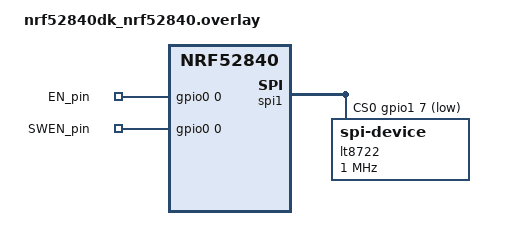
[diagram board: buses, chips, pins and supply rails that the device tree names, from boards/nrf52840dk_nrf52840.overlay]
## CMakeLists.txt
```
cmake_minimum_required(VERSION 3.20)

set(BOARD nrf52840dk_nrf52840)

# Try to find arm-gcc if toolchain isn't specified.
if (NOT DEFINED ENV{GNUARMEMB_TOOLCHAIN_PATH})
    find_program(ARM_GCC arm-none-eabi-gcc)
    if (${ARM_GCC} STREQUAL ARM_GCC-NOTFOUND)
        message(FATAL_ERROR "Unable to find arm-none-eabi-gcc.")
    else ()
        file(REAL_PATH ${ARM_GCC} REAL_GCC)
        cmake_path(GET REAL_GCC PARENT_PATH GCC_ROOT)
        file(REAL_PATH ${GCC_ROOT}/../ GNUARMEMB_TOOLCHAIN_PATH)
        set(ENV{ZEPHYR_TOOLCHAIN_VARIANT} gnuarmemb)
    endif ()
endif ()

file(REAL_PATH ${CMAKE_CURRENT_SOURCE_DIR}/../ WORKSPACE)
set(ENV{ZEPHYR_BASE} ${WORKSPACE}/zephyr)

find_package(Zephyr HINTS $ENV{ZEPHYR_BASE})

set(CMAKE_BUILD_TYPE ZDebug)

project(lt8722)

zephyr_library_compile_options(-std=gnu17)

target_sources(app PRIVATE
        src/main.c
        src/lt8722.c
        )

target_include_directories(app PRIVATE
        src
        )
```

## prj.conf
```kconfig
NRFX_SPIM3=y
```

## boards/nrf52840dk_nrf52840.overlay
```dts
/{
    lt8722_gpios {
        compatible = "gpio-leds";
        EN_pin {
            gpios = <&gpio0 0 GPIO_ACTIVE_HIGH>;
        };
        SWEN_pin {
            gpios = <&gpio0 0 GPIO_ACTIVE_HIGH>;
        };
    };
};

lt8722_spi: &spi1 {
    status="okay";
    cs-gpios = <&gpio1 7 GPIO_ACTIVE_LOW>;

    lt8722: lt8722@0 {
        compatible = "zephyr,spi-device";
        reg = <0>;
        spi-max-frequency = <1000000>;
    };
};
```

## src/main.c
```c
#include "lt8722.h"

#include <zephyr/sys/printk.h>

int main( void )
{
	uint32_t err;

	err = lt8722_init();
	if ( err )
	{
		printk( "Init failed\n" );
		return err;
	}

	return err;
}
```

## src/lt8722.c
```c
/*
Copyright 2018(c) Analog Devices, Inc.

All rights reserved.

Redistribution and use in source and binary forms, with or without
modification, are permitted provided that the following conditions are met:
 - Redistributions of source code must retain the above copyright
   notice, this list of conditions and the following disclaimer.
 - Redistributions in binary form must reproduce the above copyright
   notice, this list of conditions and the following disclaimer in
   the documentation and/or other materials provided with the
   distribution.
 - Neither the name of Analog Devices, Inc. nor the names of its
   contributors may be used to endorse or promote products derived
   from this software without specific prior written permission.
 - The use of this software may or may not infringe the patent rights
   of one or more patent holders.  This license does not release you
   from the requirement that you obtain separate licenses from these
   patent holders to use this software.
 - Use of the software either in source or binary form, must be run
   on or directly connected to an Analog Devices Inc. component.

THIS SOFTWARE IS PROVIDED BY ANALOG DEVICES "AS IS" AND ANY EXPRESS OR
IMPLIED WARRANTIES, INCLUDING, BUT NOT LIMITED TO, NON-INFRINGEMENT,
MERCHANTABILITY AND FITNESS FOR A PARTICULAR PURPOSE ARE DISCLAIMED.
IN NO EVENT SHALL ANALOG DEVICES BE LIABLE FOR ANY DIRECT, INDIRECT,
INCIDENTAL, SPECIAL, EXEMPLARY, OR CONSEQUENTIAL DAMAGES (INCLUDING, BUT NOT
LIMITED TO, INTELLECTUAL PROPERTY RIGHTS, PROCUREMENT OF SUBSTITUTE GOODS OR
SERVICES; LOSS OF USE, DATA, OR PROFITS; OR BUSINESS INTERRUPTION) HOWEVER
CAUSED AND ON ANY THEORY OF LIABILITY, WHETHER IN CONTRACT, STRICT LIABILITY,
OR TORT (INCLUDING NEGLIGENCE OR OTHERWISE) ARISING IN ANY WAY OUT OF THE USE
OF THIS SOFTWARE, EVEN IF ADVISED OF THE POSSIBILITY OF SUCH DAMAGE.

 * Created by Benjamin Riggs on 5/5/23.
 *
 * Copyright (c) 2023 Entropic Engineering. All rights reserved.
 */

#include "lt8722.h"

#include <stdlib.h>
#include <zephyr/device.h>
#include <zephyr/drivers/gpio.h>
#include <zephyr/drivers/spi.h>
#include <zephyr/kernel.h>
#include <zephyr/sys/printk.h>

#define LT8722_SPI_MODE			0
#define LT8722_DATA_XFER_SIZE	8
#define LT8722_STATUS_XFER_SIZE 4

static const uint8_t CRC_8_TABLE[256] = {
	0x00, 0x07, 0x0E, 0x09, 0x1C, 0x1B, 0x12, 0x15, 0x38, 0x3F, 0x36, 0x31, 0x24, 0x23, 0x2A, 0x2D, 0x70, 0x77, 0x7E,
	0x79, 0x6C, 0x6B, 0x62, 0x65, 0x48, 0x4F, 0x46, 0x41, 0x54, 0x53, 0x5A, 0x5D, 0xE0, 0xE7, 0xEE, 0xE9, 0xFC, 0xFB,
	0xF2, 0xF5, 0xD8, 0xDF, 0xD6, 0xD1, 0xC4, 0xC3, 0xCA, 0xCD, 0x90, 0x97, 0x9E, 0x99, 0x8C, 0x8B, 0x82, 0x85, 0xA8,
	0xAF, 0xA6, 0xA1, 0xB4, 0xB3, 0xBA, 0xBD, 0xC7, 0xC0, 0xC9, 0xCE, 0xDB, 0xDC, 0xD5, 0xD2, 0xFF, 0xF8, 0xF1, 0xF6,
	0xE3, 0xE4, 0xED, 0xEA, 0xB7, 0xB0, 0xB9, 0xBE, 0xAB, 0xAC, 0xA5, 0xA2, 0x8F, 0x88, 0x81, 0x86, 0x93, 0x94, 0x9D,
	0x9A, 0x27, 0x20, 0x29, 0x2E, 0x3B, 0x3C, 0x35, 0x32, 0x1F, 0x18, 0x11, 0x16, 0x03, 0x04, 0x0D, 0x0A, 0x57, 0x50,
	0x59, 0x5E, 0x4B, 0x4C, 0x45, 0x42, 0x6F, 0x68, 0x61, 0x66, 0x73, 0x74, 0x7D, 0x7A, 0x89, 0x8E, 0x87, 0x80, 0x95,
	0x92, 0x9B, 0x9C, 0xB1, 0xB6, 0xBF, 0xB8, 0xAD, 0xAA, 0xA3, 0xA4, 0xF9, 0xFE, 0xF7, 0xF0, 0xE5, 0xE2, 0xEB, 0xEC,
	0xC1, 0xC6, 0xCF, 0xC8, 0xDD, 0xDA, 0xD3, 0xD4, 0x69, 0x6E, 0x67, 0x60, 0x75, 0x72, 0x7B, 0x7C, 0x51, 0x56, 0x5F,
	0x58, 0x4D, 0x4A, 0x43, 0x44, 0x19, 0x1E, 0x17, 0x10, 0x05, 0x02, 0x0B, 0x0C, 0x21, 0x26, 0x2F, 0x28, 0x3D, 0x3A,
	0x33, 0x34, 0x4E, 0x49, 0x40, 0x47, 0x52, 0x55, 0x5C, 0x5B, 0x76, 0x71, 0x87, 0x7F, 0x6A, 0x6D, 0x64, 0x63, 0x3E,
	0x39, 0x30, 0x37, 0x22, 0x25, 0x2C, 0x2B, 0x06, 0x01, 0x08, 0x0F, 0x1A, 0x1D, 0x14, 0x13, 0xAE, 0xA9, 0xA0, 0xA7,
	0xB2, 0xB5, 0xBC, 0xBB, 0x96, 0x91, 0x98, 0x9F, 0x8A, 0x8D, 0x84, 0x83, 0xDE, 0xD9, 0xD0, 0xD7, 0xC2, 0xC5, 0xCC,
	0xCB, 0xE6, 0xE1, 0xE8, 0xEF, 0xFA, 0xFD, 0xF4, 0xF3 };

static struct spi_dt_spec spi_dt = {
	.bus	= DEVICE_DT_GET( DT_NODELABEL( lt8722_spi ) ),
	.config = SPI_CONFIG_DT( DT_NODELABEL( lt8722_spi ), SPI_OP_MODE_MASTER | SPI_WORD_SET( 8 ), 0 ) };
static const struct gpio_dt_spec EN_pin_dt	 = GPIO_DT_SPEC_GET( DT_NODELABEL( EN_pin ), gpios );
static const struct gpio_dt_spec SWEN_pin_dt = GPIO_DT_SPEC_GET( DT_NODELABEL( SWEN_pin ), gpios );

static uint8_t			  mosi_buffer[LT8722_DATA_XFER_SIZE] = { 0 };
static uint8_t			  miso_buffer[LT8722_DATA_XFER_SIZE] = { 0 };
static struct spi_buf	  tx_buf							 = { .buf = mosi_buffer, .len = 0 };
static struct spi_buf	  rx_buf							 = { .buf = miso_buffer, .len = 0 };
static struct spi_buf_set tx_set							 = { .buffers = &tx_buf, .count = 1 };
static struct spi_buf_set rx_set							 = { .buffers = &rx_buf, .count = 1 };

static uint8_t calc_crc( uint8_t* buffer, size_t len )
{
	uint8_t result = 0;
	for ( uint8_t i = 0; i < len; i++ )
	{
		result = CRC_8_TABLE[( result ^ buffer[i] )];
	}
	return result;
}

static int transceive( uint8_t ack, uint8_t crc )
{
	int r;

	r = spi_transceive_dt( &spi_dt, &tx_set, &rx_set );
	if ( r )
	{
		printk( "Transceive error: %d\n", -r );
		return -r;
	}

	r = miso_buffer[ack];
	if ( LT8722_ACK != r )
	{
		printk( "LT8722 ACK error: %02x\n", r );
		return r ? r : 0xFF; /* Stuck at zero is error */
	}

	r = calc_crc( miso_buffer, crc );
	if ( r != miso_buffer[crc] )
	{
		printk( "CRC error: calculated %02x, received %02x\n", r, miso_buffer[crc] );
		return 0xFF;
	}
	return 0;
}

int lt8722_init( void )
{
	int err;
	if ( ! gpio_is_ready_dt( &EN_pin_dt ) )
	{
		printk( "GPIO driver not ready\n" );
		return -1;
	}
	err = gpio_pin_configure_dt( &EN_pin_dt, GPIO_OUTPUT_INACTIVE );
	if ( err )
	{
		printk( "Failed to init EN pin, err: %d\n", err );
		return err;
	}

	if ( ! gpio_is_ready_dt( &SWEN_pin_dt ) )
	{
		printk( "GPIO driver not ready\n" );
		return -1;
	}
	err = gpio_pin_configure_dt( &SWEN_pin_dt, GPIO_OUTPUT_INACTIVE );
	if ( err )
	{
		printk( "Failed to init SWEN pin, err: %d\n", err );
		return err;
	}

	if ( ! spi_is_ready_dt( &spi_dt ) )
	{
		printk( "SPI driver not ready\n" );
		return -1;
	}
	return 0;
}

int lt8722_spi_transact(
	enum lt8722_command		  kind,
	lt8722_status_register_t* status,
	uint32_t*				  data,
	enum lt8722_spi_address	  address )
{
	int err = 0;

	switch ( kind )
	{
	case LT8722_STATUS_ACQUISITION:
		tx_buf.len = rx_buf.len = LT8722_STATUS_XFER_SIZE;
		memset( miso_buffer, 0, LT8722_STATUS_XFER_SIZE );
		mosi_buffer[0] = LT8722_SQ;
		mosi_buffer[1] = address;
		mosi_buffer[2] = calc_crc( mosi_buffer, 2 );

		err = transceive( 3, 2 );
		break;
	case LT8722_DATA_WRITE:
		tx_buf.len = rx_buf.len = LT8722_DATA_XFER_SIZE;
		memset( miso_buffer, 0, LT8722_DATA_XFER_SIZE );
		mosi_buffer[0] = LT8722_DW;
		mosi_buffer[1] = address;
		// LT8277 spi is big-endian
		mosi_buffer[2] = ( (uint8_t*) data )[3];
		mosi_buffer[3] = ( (uint8_t*) data )[2];
		mosi_buffer[4] = ( (uint8_t*) data )[1];
		mosi_buffer[5] = ( (uint8_t*) data )[0];
		mosi_buffer[6] = calc_crc( mosi_buffer, 6 );

		err = transceive( 7, 2 );
		break;
	case LT8722_DATA_READ:
		tx_buf.len = rx_buf.len = LT8722_DATA_XFER_SIZE;
		memset( miso_buffer, 0, LT8722_DATA_XFER_SIZE );
		mosi_buffer[0] = LT8722_DR;
		mosi_buffer[1] = address;
		mosi_buffer[2] = calc_crc( mosi_buffer, 2 );

		err = transceive( 7, 6 );
		if ( err )
			break;

		// LT8277 spi is big-endian
		( (uint8_t*) data )[0] = miso_buffer[5];
		( (uint8_t*) data )[1] = miso_buffer[4];
		( (uint8_t*) data )[2] = miso_buffer[3];
		( (uint8_t*) data )[3] = miso_buffer[2];
		break;
	}

	// LT8277 spi is big-endian
	( (uint8_t*) status )[0] = miso_buffer[1];
	( (uint8_t*) status )[1] = miso_buffer[0];
	return err;
}

/**
 * First, apply proper VIN and VDDIO voltages to the LT8722.
 *
 * Second, enable the VCC LDO and other LT8722 circuitry by raising the EN pin
 * above the 0.74V threshold and writing the ENABLE_REQ bit to a 1.
 *
 * Third, configure the output voltage control DAC (SPIS_DAC) to 0xFF000000 [LT8722_DAC_MIN].
 * This code will force the LDR pin to GND when the linear power stage is
 * later enabled.
 *
 * Fourth, write all SPIS_STATUS registers to 0. This clears all faults and
 * allows the linear power stage to be enabled. Due to the actions in the
 * prior step, when the linear power stage turns on in this step, the output
 * load will be discharged to GND. Pause between this step and the next for
 * ~1 ms to allow any prebiased output condition to dissipate.
 *
 * Fifth, ramp the output voltage control DAC (SPIS_DAC) from code 0xFF000000 [LT8722_DAC_MIN]
 * to code 0x00000000 in a controlled manner so that the linear driver output
 * (LDR) ramps from GND to VIN/2. During this ramping period, both the PWM
 * driver output (SFB) and linear driver output (LDR) move together to VIN/2.
 * The ramp time for this controlled movement to VIN/2 should be a minimum of
 * 5 ms.
 *
 * Sixth, enable the PWM switching behavior by raising the SWEN pin above the
 * 1.2V (typ) threshold and writing the SWEN_REQ bit to a 1. With both output
 * terminals at VIN/2, the inrush current through the output load is greatly
 * minimized. After the PWM driver switching activity is enabled, keep the
 * output voltage control DAC (SPIS_DAC) code unchanged for a minimum of 160μs.
 *
 * Finally, the output voltage control DAC (SPIS_DAC) code can be stepped in
 * a controlled manner to the desired code. The LDR and SFB outputs will
 * begin to diverge from one another until the desired differential voltage
 * is developed across the output load, the differential output voltage
 * reaches the preset voltage limit, or the output current reaches the preset
 * current limit.
 */
int lt8722_soft_start( int32_t dac_init )
{
	lt8722_status_register_t status;
	uint32_t				 reg = 0;
	int						 err;

	if ( ! IN_RANGE( dac_init, LT8722_DAC_MIN, LT8722_DAC_MAX ) )
	{
		printk( "Invalid initial DAC value: %d\n", dac_init );
		return -1;
	}

	/// Second
	err = gpio_pin_set_dt( &EN_pin_dt, true );
	if ( err )
	{
		printk( "Step 2: failed to enable EN pin, err: %d\n", err );
		return err;
	}

	// Retrieve current command register values
	err = lt8722_spi_transact( LT8722_DATA_READ, &status, &reg, LT8722_SPIS_COMMAND );
	if ( err || ( status.bits & LT8722_STATUS_FAULT_MASK ) )
	{
		printk( "Step 2: failed to read command register, err: %d, status: %02x\n", err, status.bits );
		return err;
	}
	// Set enable bit
	( (lt8722_command_register_t*) &reg )->ENABLE_REQ = 1;
	// Write updated command register values
	err = lt8722_spi_transact( LT8722_DATA_WRITE, &status, &reg, LT8722_SPIS_COMMAND );
	if ( err || ( status.bits & LT8722_STATUS_FAULT_MASK ) )
	{
		printk( "Step 2: failed to set ENABLE_REQ, err: %d, status: %02x\n", err, status.bits );
		return err;
	}

	/// Third
	reg = 0xFF000000;
	err = lt8722_spi_transact( LT8722_DATA_WRITE, &status, &reg, LT8722_SPIS_DAC );
	if ( err || ( status.bits & LT8722_STATUS_FAULT_MASK ) )
	{
		printk( "Step 3: failed to set DAC, err: %d, status: %02x\n", err, status.bits );
		return err;
	}

	/// Fourth
	reg = 0;
	err = lt8722_spi_transact( LT8722_DATA_WRITE, &status, &reg, LT8722_SPIS_STATUS );
	if ( err || ( status.bits & LT8722_STATUS_FAULT_MASK ) )
	{
		printk( "Step 4: failed to set DAC, err: %d, status: %02x\n", err, status.bits );
		return err;
	}
	(void) k_sleep( K_MSEC( 1 ) );

	/// Fifth
	// Ramp from LT8722_DAC_MIN to zero over 5 ms.
#define RAMP_STEPS	  256
#define RAMP_INTERVAL ( -LT8722_DAC_MIN / RAMP_STEPS )
#define RAMP_DELAY	  ( DIV_ROUND_UP( 5000, RAMP_STEPS ) )
	for ( reg = (uint32_t) LT8722_DAC_MIN; (int32_t) reg < 0; reg = (uint32_t) ( (int32_t) reg + RAMP_INTERVAL ) )
	{
		err = lt8722_spi_transact( LT8722_DATA_WRITE, &status, &reg, LT8722_SPIS_DAC );
		if ( err || ( status.bits & LT8722_STATUS_FAULT_MASK ) )
		{
			printk( "Step 5 fault or err: %d, status: %02x\n", err, status.bits );
			return err;
		}
		(void) k_sleep( K_USEC( RAMP_DELAY ) );
	}

	/// Sixth
	err = gpio_pin_set_dt( &SWEN_pin_dt, true );
	if ( err )
	{
		printk( "Step 6: failed to enable SWEN pin, err: %d\n", err );
		return err;
	}
	// TODO: Set up interrupt on SWEN; LT8722 pulls low on fault
	err = gpio_pin_configure_dt( &SWEN_pin_dt, GPIO_INPUT | GPIO_PULL_UP );
	if ( err )
	{
		printk( "Step 6: failed to reconfigure SWEN pin, err: %d\n", err );
		return err;
	}

	// Retrieve current command register values
	reg = 0;
	err = lt8722_spi_transact( LT8722_DATA_READ, &status, &reg, LT8722_SPIS_COMMAND );
	if ( err || ( status.bits & LT8722_STATUS_FAULT_MASK ) )
	{
		printk( "Step 6: failed to read command register, err: %d, status: %02x\n", err, status.bits );
		return err;
	}
	// Set switching enable bit
	( (lt8722_command_register_t*) &reg )->SWEN_REQ = 1;
	// Write updated command register values
	err = lt8722_spi_transact( LT8722_DATA_WRITE, &status, &reg, LT8722_SPIS_COMMAND );
	if ( err || (uint32_t) ( status.bits & LT8722_STATUS_FAULT_MASK ) )
	{
		printk( "Step 6 fault or err: %d, status: %02x\n", err, status.bits );
		return err;
	}
	// Minimum of 160, 32 x 5 µs
	(void) k_sleep( K_USEC( 200 ) );

	/// PWM config
	// reg still contains current command register values
	( (lt8722_command_register_t*) &reg )->SW_FRQ_SET = 0b001;	// 1 MHz PWM frequency
	( (lt8722_command_register_t*) &reg )->SW_FRQ_ADJ = 0b01;	// +15% PWM frequency
	( (lt8722_command_register_t*) &reg )->SYS_DC	  = 0b10;	// 10-90% duty cycle range, min on/off is 6% of pulse
	( (lt8722_command_register_t*) &reg )->SW_VC_INT  = 0b111;	// Init peak inductor current of ~2.6, V_IN @ 12 V
	// Write updated command register values
	err = lt8722_spi_transact( LT8722_DATA_WRITE, &status, &reg, LT8722_SPIS_COMMAND );
	if ( err || ( status.bits & LT8722_STATUS_FAULT_MASK ) )
	{
		printk( "PWM config fault or err: %d, status: %02x\n", err, status.bits );
		return err;
	}

	// DAC is at zero from step 5.
	// Maintain soft-start ramp rate of 24-bits per 5 ms.
	int32_t sign = ( dac_init > 0 ) - ( dac_init < 0 );
	for ( reg = 0; abs( (int32_t) reg ) < abs( dac_init ) - RAMP_INTERVAL;
		  reg = (uint32_t) ( (int32_t) reg + sign * RAMP_INTERVAL ) )
	{
		err = lt8722_spi_transact( LT8722_DATA_WRITE, &status, &reg, LT8722_SPIS_DAC );
		if ( err || ( status.bits & LT8722_STATUS_FAULT_MASK ) )
		{
			printk( "Step 5 fault or err: %d, status: %02x\n", err, status.bits );
			return err;
		}
		(void) k_sleep( K_USEC( RAMP_DELAY ) );
	}
	return 0;
}
```

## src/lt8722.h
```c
/*
 * Created by Benjamin Riggs on 5/5/23.
 *
 * Copyright (c) 2023 Entropic Engineering. All rights reserved.
 */

#ifndef LT8722_LT8722_H
#define LT8722_LT8722_H

#include <zephyr/sys/util.h>

enum lt8722_command {
	LT8722_STATUS_ACQUISITION = 0x00,
	LT8722_SQ				  = LT8722_STATUS_ACQUISITION,
	LT8722_DATA_WRITE		  = 0x02,
	LT8722_DW				  = LT8722_DATA_WRITE,
	LT8722_DATA_READ		  = 0x04,
	LT8722_DR				  = LT8722_DATA_READ
};

enum lt8722_spi_address {
	LT8722_SPIS_COMMAND	  = 0x00,
	LT8722_SPIS_STATUS	  = 0x01,
	LT8722_SPIS_DAC_ILIMN = 0x02,
	LT8722_SPIS_DAC_ILIMP = 0x03,
	LT8722_SPIS_DAC		  = 0x04,
	LT8722_SPIS_OV_CLAMP  = 0x05,
	LT8722_SPIS_UV_CLAMP  = 0x06,
	LT8722_SPIS_AMUX	  = 0x07,
};

enum lt8722_acknowledge {
	LT8722_ACK			 = 0xA5,
	LT8722_NACK			 = 0xC3,
	LT8722_BAD_REGISTER	 = 0x0F,
	LT8722_STUCK_AT_ZERO = 0x00,
	LT8722_STUCK_AT_ONE	 = 0xFF
};

typedef struct {
	uint32_t /* Ignored */ : 13;
	uint32_t PWR_LIM	   : 4;
	uint32_t SPI_RST	   : 1;
	uint32_t SW_VC_INT	   : 3;
	uint32_t /* Unused */  : 1;	 // Must be zero
	uint32_t VCC_VREG	   : 1;
	uint32_t SYS_DC		   : 2;
	uint32_t SW_FRQ_ADJ	   : 2;
	uint32_t SW_FRQ_SET	   : 3;
	uint32_t SWEN_REQ	   : 1;
	uint32_t ENABLE_REQ	   : 1;
} lt8722_command_register_t;

typedef union {
	struct {
		uint32_t /* Ignored	*/ : 21;
		uint32_t V2P5_UVLO	   : 1;
		uint32_t CP_UVLO	   : 1;
		uint32_t VDDIO_UVLO	   : 1;
		uint32_t VCC_UVLO	   : 1;
		uint32_t TSD		   : 1;
		uint32_t OVER_CURRENT  : 1;
		uint32_t POR_OCC	   : 1;
		uint32_t MIN_OT		   : 1;
		uint32_t SRVO_PLIM	   : 1;
		uint32_t SRVO_ILIM	   : 1;
		uint32_t SWEN		   : 1;
	};
	uint32_t bits;
} lt8722_status_register_t;

#define LT8722_STATUS_RESET_MASK BIT( 4 )
#define LT8722_STATUS_FAULT_MASK GENMASK( 10, 5 )

#define LT8722_DAC_MIN	((int32_t) -(1 << 24))
#define LT8722_DAC_MAX	((int32_t) (1 << 24) - 1)

/**
 * Ensure device drivers are ready.
 *
 * @return				0 or error
 */
int lt8722_init( void );

/**
 * Begin SPI transaction.
 *
 * Check for ready & no error before calling.
 *
 * @param[in] kind 			Type of transaction
 * @param[out] status		Status reported by device
 * @param[in|out]data 		Output if DR, input if DW, ignored if SQ
 * @param[in] address		Address for DR or DW, ignored if SQ
 * @return					0 or error
 */
int lt8722_spi_transact(
	enum lt8722_command		  kind,
	lt8722_status_register_t* status,
	uint32_t*				  data,
	enum lt8722_spi_address	  address );

/**
 * Start the output while limiting inrush current
 *
 * V_OUT = 16 * dac_init * 2.5 V / 2**25
 * V_OUT is clamped between +V_IN to almost -V_IN.
 *
 * @param[in] dac_init 	Initial value to set DAC
 * 						Must be in range LT8722_DAC_MIN to LT8722_DAC_MAX
 * @return				0 or error
 */
int lt8722_soft_start( int32_t dac_init );

#endif	// LT8722_LT8722_H
```

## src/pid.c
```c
/*
 * Created by Benjamin Riggs on 5/12/23.
 *
 * Copyright (c) 2023 Entropic Engineering. All rights reserved.
 */

#include "pid.h"

float pid_update( pid_control_t* pid, float error )
{
	pid->error_integral += error;
	pid->error_derivative_ema = ( error - pid->previous_error ) * pid->error_derivative_ema_weight +
								pid->error_derivative_ema * ( 1 - pid->error_derivative_ema_weight );
	pid->previous_error = error;

	return pid->K_p * (error + pid->error_integral / pid->T_i + pid->T_d * pid->error_derivative_ema)
}
```

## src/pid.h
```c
/*
 * Created by Benjamin Riggs on 5/12/23.
 *
 * Copyright (c) 2023 Entropic Engineering. All rights reserved.
 */

#ifndef LT8722_PID_H
#define LT8722_PID_H

#include <stdint.h>

typedef struct {
	// Config
	float K_p;							/// Proportional constant, applied to all terms
	float T_i;							/// Integration time, K_i =  K_p / T_i
	float T_d;							/// Derivative time, K_d = K_p * T_d
	float error_derivative_ema_weight;	/// Weight of new error delta in EMA, set to 1 for no EMA
	// Data
	float error_integral;		 /// Summed error values
	float previous_error;		 /// error value from last call to pid_update
	float error_derivative_ema;	 /// Error derivative, smoothed via EMA
} pid_control_t;

#define PID_INIT( K_P, T_I, T_D, WEIGHT )                                                          \
	( pid_control_t )                                                                              \
	{                                                                                              \
		.K_p = ( K_P ), .T_i = ( T_I ), .T_d = ( T_D ), .error_derivative_ema_weight = ( WEIGHT ), \
		.error_intrgral = 0, .previous_error = 0, .error_derivative_ema = 0                        \
	}

/**
 * Calculate the output of a PID controller.
 *
 * Ensure interval between calls is consistent.
 *
 * @param[in] pid 		Pointer to controller data, ensure it's not NULL
 * @param[in] error 	Current error value
 * @return 				Computed PID result
 */
float pid_update( pid_control_t* pid, float error );

#endif	// LT8722_PID_H
```
